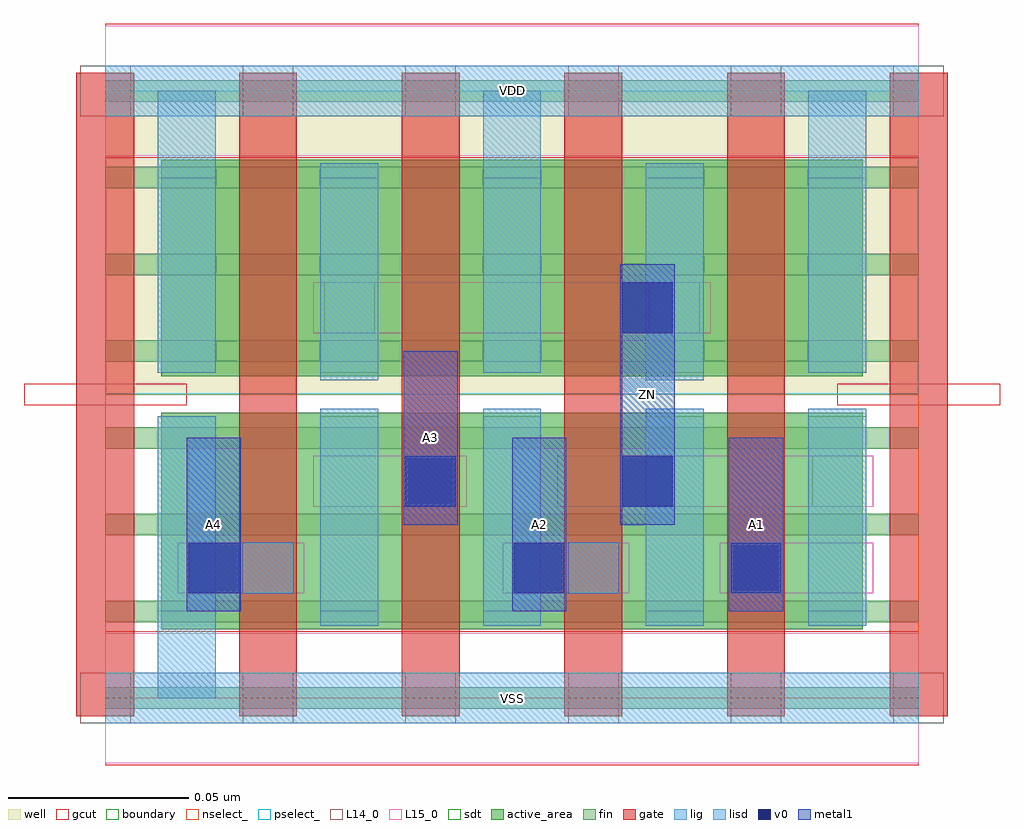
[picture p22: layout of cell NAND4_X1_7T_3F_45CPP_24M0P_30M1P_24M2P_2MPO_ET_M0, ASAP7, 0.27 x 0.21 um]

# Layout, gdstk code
import gdstk
lib = gdstk.Library(unit=1e-6, precision=2.5e-10)
def R(c, l, rs):  # rectangles x0, y0, x1, y1
    for r in rs: c.add(gdstk.rectangle(r[:2], r[2:], *l))
def A(c, l, x, y, w, h, nx, ny, dx, dy):  # array of equal rectangles
    R(c, l, [(x+i*dx, y+j*dy, x+i*dx+w, y+j*dy+h) for i in range(nx) for j in range(ny)])
well = (1, 0)
fin = (2, 0)
gate = (7, 0)
gcut = (10, 0)
active_area = (11, 0)
nselect_ = (12, 0)
pselect_ = (13, 0)
L14_0 = (14, 0)
L15_0 = (15, 0)
lig = (16, 0)
lisd = (17, 0)
v0 = (18, 0)
metal1 = (19, 0)
sdt = (88, 0)
boundary = (100, 0)

nand4_x1_7t_3f_45cpp_24m = lib.new_cell('NAND4_X1_7T_3F_45CPP_24M0P_30M1P_24M2P_2MPO_ET_M0')
R(nand4_x1_7t_3f_45cpp_24m, well, [(0,0.084,0.225,0.168)])
A(nand4_x1_7t_3f_45cpp_24m, fin, 0, -0.003, 0.225, 0.006, 1, 8, 0, 0.024)
A(nand4_x1_7t_3f_45cpp_24m, gate, -0.008, -0.005, 0.016, 0.178, 6, 1, 0.045, 0)
R(nand4_x1_7t_3f_45cpp_24m, gcut, [(0,-0.0185,0.225,0.0185), (-0.0225,0.081,0.0225,0.087), (0.2025,0.081,0.2475,0.087), (0,0.1495,0.225,0.1865)])
A(nand4_x1_7t_3f_45cpp_24m, active_area, 0.0155, 0.019, 0.059, 0.06, 4, 2, 0.045, 0.07)
R(nand4_x1_7t_3f_45cpp_24m, nselect_, [(0,0,0.225,0.084)])
R(nand4_x1_7t_3f_45cpp_24m, pselect_, [(0,0.084,0.225,0.168)])
A(nand4_x1_7t_3f_45cpp_24m, L14_0, -0.007, -0.007, 0.014, 0.014, 6, 2, 0.045, 0.168)
R(nand4_x1_7t_3f_45cpp_24m, L14_0, [(0.038,0.029,0.052,0.043), (0.128,0.029,0.142,0.043), (0.173,0.029,0.187,0.043), (0.083,0.053,0.097,0.067), (0.1955,0.053,0.2095,0.067), (0.0605,0.101,0.0745,0.115), (0.1505,0.101,0.1645,0.115)])
R(nand4_x1_7t_3f_45cpp_24m, L15_0, [(0,-0.018,0.225,0.018), (0.02,0.029,0.055,0.043), (0.11,0.029,0.145,0.043), (0.17,0.029,0.2125,0.043), (0.0575,0.053,0.1,0.067), (0.125,0.053,0.2125,0.067), (0.0575,0.101,0.1675,0.115), (0,0.15,0.225,0.186)])
R(nand4_x1_7t_3f_45cpp_24m, lig, [(0,-0.007,0.225,0.007), (0.038,0.029,0.052,0.043), (0.128,0.029,0.142,0.043), (0.173,0.029,0.187,0.043), (0.083,0.053,0.097,0.067), (0,0.161,0.225,0.175)])
A(nand4_x1_7t_3f_45cpp_24m, lisd, 0.0595, 0.02, 0.016, 0.06, 4, 1, 0.045, 0)
A(nand4_x1_7t_3f_45cpp_24m, lisd, 0.0145, 0.09, 0.016, 0.078, 3, 1, 0.09, 0)
R(nand4_x1_7t_3f_45cpp_24m, lisd, [(0.0145,0,0.0305,0.078), (0.0595,0.088,0.0755,0.148), (0.1495,0.088,0.1655,0.148)])
R(nand4_x1_7t_3f_45cpp_24m, v0, [(0.023,0.029,0.037,0.043), (0.113,0.029,0.127,0.043), (0.173,0.029,0.187,0.043), (0.083,0.053,0.097,0.067), (0.143,0.053,0.157,0.067), (0.143,0.101,0.157,0.115)])
R(nand4_x1_7t_3f_45cpp_24m, metal1, [(0.0225,0.024,0.0375,0.072), (0.1125,0.024,0.1275,0.072), (0.1725,0.024,0.1875,0.072), (0.0825,0.048,0.0975,0.096), (0.1425,0.048,0.1575,0.12)])
A(nand4_x1_7t_3f_45cpp_24m, sdt, 0.0145, 0.024, 0.016, 0.054, 5, 2, 0.045, 0.066)
R(nand4_x1_7t_3f_45cpp_24m, boundary, [(0,0,0.225,0.168)])
nand4_x1_7t_3f_45cpp_24m.add(gdstk.Label('ZN', (0.15,0.084), layer=19, texttype=251))
nand4_x1_7t_3f_45cpp_24m.add(gdstk.Label('A1', (0.18,0.048), layer=19, texttype=251))
nand4_x1_7t_3f_45cpp_24m.add(gdstk.Label('A2', (0.12,0.048), layer=19, texttype=251))
nand4_x1_7t_3f_45cpp_24m.add(gdstk.Label('A3', (0.09,0.072), layer=19, texttype=251))
nand4_x1_7t_3f_45cpp_24m.add(gdstk.Label('A4', (0.03,0.048), layer=19, texttype=251))
nand4_x1_7t_3f_45cpp_24m.add(gdstk.Label('VDD', (0.1125,0.168), layer=15, texttype=251))
nand4_x1_7t_3f_45cpp_24m.add(gdstk.Label('VSS', (0.1125,0), layer=15, texttype=251))
nand4_x1_7t_3f_45cpp_24m.add(gdstk.Label('VDD', (0.1125,0.168), layer=1, texttype=251))
nand4_x1_7t_3f_45cpp_24m.add(gdstk.Label('VSS', (0.1125,0), layer=3, texttype=251))

lib.write_gds('NAND4_X1_7T_3F_45CPP_24M0P_30M1P_24M2P_2MPO_ET_M0.gds')
